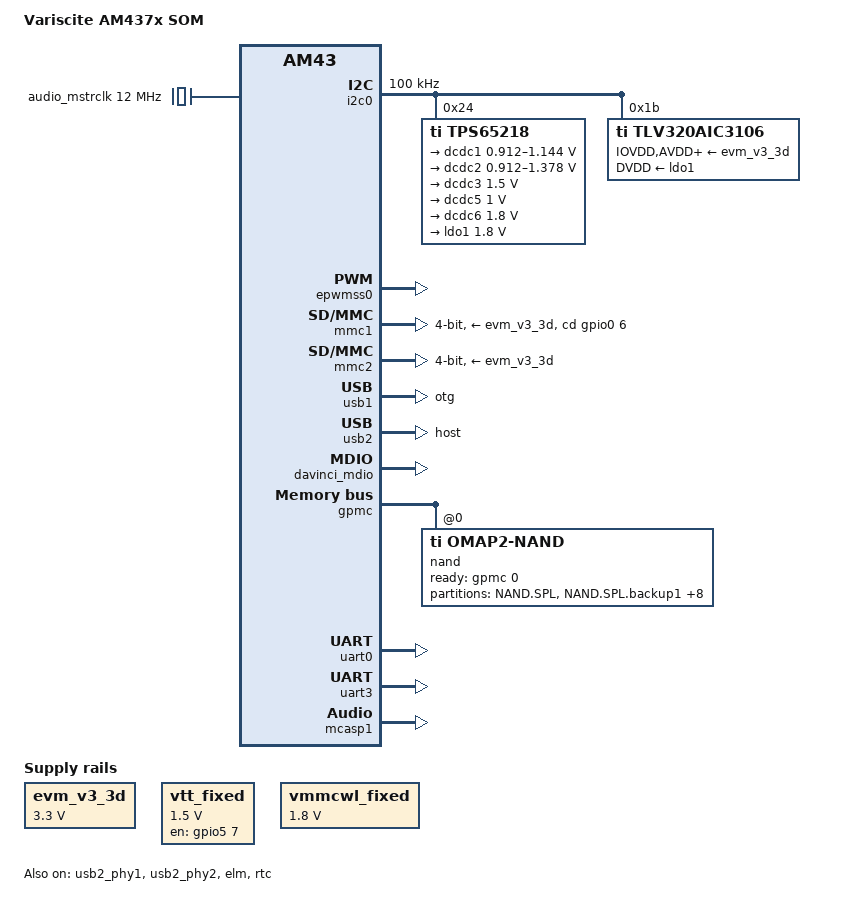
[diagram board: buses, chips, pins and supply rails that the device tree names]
/*
 * Copyright (C) 2015 Variscite LTD - http://www.variscite.com/
 *
 * This program is free software; you can redistribute it and/or modify
 * it under the terms of the GNU General Public License version 2 as
 * published by the Free Software Foundation.
 */

/* VAR-SOM-AM43 */

/dts-v1/;

#include "am4372.dtsi"
#include <dt-bindings/pinctrl/am43xx.h>
#include <dt-bindings/pwm/pwm.h>
#include <dt-bindings/gpio/gpio.h>
#include <dt-bindings/input/input.h>

/ {
	model = "Variscite AM437x SOM";
	compatible = "ti,am437x-gp-evm","ti,am4372","ti,am43","var,var-som-am43";

	aliases {
		serial1 = &uart1;
	};

	evm_v3_3d: fixedregulator-v3_3d {
		compatible = "regulator-fixed";
		regulator-name = "evm_v3_3d";
		regulator-min-microvolt = <3300000>;
		regulator-max-microvolt = <3300000>;
		enable-active-high;
	};

	vtt_fixed: fixedregulator-vtt {
		compatible = "regulator-fixed";
		regulator-name = "vtt_fixed";
		regulator-min-microvolt = <1500000>;
		regulator-max-microvolt = <1500000>;
		regulator-always-on;
		regulator-boot-on;
		enable-active-high;
		gpio = <&gpio5 7 GPIO_ACTIVE_HIGH>;
	};

	vmmcwl_fixed: fixedregulator-mmcwl {
		compatible = "regulator-fixed";
		regulator-name = "vmmcwl_fixed";
		regulator-min-microvolt = <1800000>;
		regulator-max-microvolt = <1800000>;
	};

	sound0: sound@0 {
		compatible = "simple-audio-card";
		simple-audio-card,name = "AM437x-GP-EVM";
		simple-audio-card,widgets =
			"Headphone", "Headphone Jack",
			"Line", "Line In";
		simple-audio-card,routing =
			"Headphone Jack",	"HPLOUT",
			"Headphone Jack",	"HPROUT",
			"LINE1L",		"Line In",
			"LINE1R",		"Line In";
		simple-audio-card,format = "dsp_b";
		simple-audio-card,bitclock-master = <&sound0_master>;
		simple-audio-card,frame-master = <&sound0_master>;
		simple-audio-card,bitclock-inversion;

		simple-audio-card,cpu {
			sound-dai = <&mcasp1>;
			system-clock-frequency = <24000000>;
		};

		sound0_master: simple-audio-card,codec {
			sound-dai = <&tlv320aic3106>;
			system-clock-frequency = <24000000>;
		};
	};

	audio_mstrclk: mclk_osc {
		compatible = "fixed-clock";
		#clock-cells = <0>;
		clock-frequency = <12000000>;
	};

};

&am43xx_pinmux {
	pinctrl-names = "default", "sleep";
	pinctrl-0 = <&ddr3_vtt_toggle_default &debugss_pins &gpio_pins &clkout2_pin>;
	pinctrl-1 = <>;

	ddr3_vtt_toggle_default: ddr_vtt_toggle_default {
		pinctrl-single,pins = <
			0x25C (DS0_PULL_UP_DOWN_EN | PIN_OUTPUT_PULLUP | DS0_FORCE_OFF_MODE | MUX_MODE7) /* spi0_cs0.gpio5_7 */
		>;
	};

	i2c0_pins: i2c0_pins {
		pinctrl-single,pins = <
			0x188 (PIN_INPUT_PULLUP | SLEWCTRL_FAST | MUX_MODE0)  /* i2c0_sda.i2c0_sda */
			0x18c (PIN_INPUT_PULLUP | SLEWCTRL_FAST | MUX_MODE0)  /* i2c0_scl.i2c0_scl */
		>;
	};

	i2c1_pins_default: i2c1_pins_default {
		pinctrl-single,pins = <
			0x15c (PIN_INPUT_PULLUP | SLEWCTRL_FAST | MUX_MODE2)  /* spi0_cs0.i2c1_scl */
			0x158 (PIN_INPUT_PULLUP | SLEWCTRL_FAST | MUX_MODE2)  /* spi0_d1.i2c1_sda  */
		>;
	};

	i2c1_pins_sleep: i2c1_pins_sleep {
		pinctrl-single,pins = <
			0x15c (PIN_INPUT_PULLUP | MUX_MODE7)
			0x158 (PIN_INPUT_PULLUP | MUX_MODE7)
		>;
	};

	mmc1_pins: pinmux_mmc1_pins {
		pinctrl-single,pins = <
			0x100 (PIN_INPUT_PULLUP | MUX_MODE0) /* mmc0_clk.mmc0_clk */
			0x104 (PIN_INPUT_PULLUP | MUX_MODE0) /* mmc0_cmd.mmc0_cmd */
			0x0f0 (PIN_INPUT_PULLUP | MUX_MODE0) /* mmc0_dat0.mmc0_dat0 */
			0x0f4 (PIN_INPUT_PULLUP | MUX_MODE0) /* mmc0_dat1.mmc0_dat1 */
			0x0f8 (PIN_INPUT_PULLUP | MUX_MODE0) /* mmc0_dat2.mmc0_dat2 */
			0x0fc (PIN_INPUT_PULLUP | MUX_MODE0) /* mmc0_dat3.mmc0_dat3 */
			0x160 (PIN_INPUT | MUX_MODE7) /* spi0_cs1.gpio0_6 */
		>;
	};

	mmc1_sleep_pins: pinmux_mmc1_sleep_pins {
		pinctrl-single,pins = <
			0x100 (PIN_INPUT_PULLDOWN | MUX_MODE7)
			0x104 (PIN_INPUT | PULL_DISABLE | MUX_MODE7)
			0x0f0 (PIN_INPUT | PULL_DISABLE | MUX_MODE7)
			0x0f4 (PIN_INPUT | PULL_DISABLE | MUX_MODE7)
			0x0f8 (PIN_INPUT | PULL_DISABLE | MUX_MODE7)
			0x0fc (PIN_INPUT | PULL_DISABLE | MUX_MODE7)
			0x160 (PIN_INPUT | PULL_DISABLE | MUX_MODE7)
		>;
	};

	emmc_pins_default: emmc_pins_default {
		pinctrl-single,pins = <
			0x20 (PIN_INPUT_PULLUP | MUX_MODE2) /* gpmc_ad8.mmc1_dat0 */
			0x24 (PIN_INPUT_PULLUP | MUX_MODE2) /* gpmc_ad9.mmc1_dat1 */
			0x28 (PIN_INPUT_PULLUP | MUX_MODE2) /* gpmc_ad10.mmc1_dat2 */
			0x2c (PIN_INPUT_PULLUP | MUX_MODE2) /* gpmc_ad11.mmc1_dat3 */
			0x80 (PIN_INPUT_PULLUP | MUX_MODE2) /* gpmc_csn1.mmc1_clk */
			0x84 (PIN_INPUT_PULLUP | MUX_MODE2) /* gpmc_csn2.mmc1_cmd */
		>;
	};

	emmc_pins_sleep: emmc_pins_sleep {
		pinctrl-single,pins = <
			0x20 (PIN_INPUT_PULLDOWN | MUX_MODE7) /* gpmc_ad8.mmc1_dat0 */
			0x24 (PIN_INPUT_PULLDOWN | MUX_MODE7) /* gpmc_ad9.mmc1_dat1 */
			0x28 (PIN_INPUT_PULLDOWN | MUX_MODE7) /* gpmc_ad10.mmc1_dat2 */
			0x2c (PIN_INPUT_PULLDOWN | MUX_MODE7) /* gpmc_ad11.mmc1_dat3 */
			0x80 (PIN_INPUT_PULLDOWN | MUX_MODE7) /* gpmc_csn1.mmc1_clk */
			0x84 (PIN_INPUT_PULLDOWN | MUX_MODE7) /* gpmc_csn2.mmc1_cmd */
		>;
	};

	cpsw_default: cpsw_default {
		pinctrl-single,pins = <
			/* Slave 1 */
			0x114 (PIN_OUTPUT_PULLDOWN | MUX_MODE2)	/* mii1_txen.rgmii1_txen */
			0x118 (PIN_INPUT_PULLDOWN | MUX_MODE2)	/* mii1_rxdv.rgmii1_rxctl */
			0x11c (PIN_OUTPUT_PULLDOWN | MUX_MODE2)	/* mii1_txd1.rgmii1_txd3 */
			0x120 (PIN_OUTPUT_PULLDOWN | MUX_MODE2)	/* mii1_txd0.rgmii1_txd2 */
			0x124 (PIN_OUTPUT_PULLDOWN | MUX_MODE2)	/* mii1_txd1.rgmii1_txd1 */
			0x128 (PIN_OUTPUT_PULLDOWN | MUX_MODE2)	/* mii1_txd0.rgmii1_txd0 */
			0x12c (PIN_OUTPUT_PULLDOWN | MUX_MODE2)	/* mii1_txclk.rmii1_tclk */
			0x130 (PIN_INPUT_PULLDOWN | MUX_MODE2)	/* mii1_rxclk.rmii1_rclk */
			0x134 (PIN_INPUT_PULLDOWN | MUX_MODE2)	/* mii1_rxd1.rgmii1_rxd3 */
			0x138 (PIN_INPUT_PULLDOWN | MUX_MODE2)	/* mii1_rxd0.rgmii1_rxd2 */
			0x13c (PIN_INPUT_PULLDOWN | MUX_MODE2)	/* mii1_rxd1.rgmii1_rxd1 */
			0x140 (PIN_INPUT_PULLDOWN | MUX_MODE2)	/* mii1_rxd0.rgmii1_rxd0 */
		>;
	};

	cpsw_sleep: cpsw_sleep {
		pinctrl-single,pins = <
			/* Slave 1 reset value */
			0x114 (PIN_INPUT_PULLDOWN | MUX_MODE7)
			0x118 (PIN_INPUT_PULLDOWN | MUX_MODE7)
			0x11c (PIN_INPUT_PULLDOWN | MUX_MODE7)
			0x120 (PIN_INPUT_PULLDOWN | MUX_MODE7)
			0x124 (PIN_INPUT_PULLDOWN | MUX_MODE7)
			0x128 (PIN_INPUT_PULLDOWN | MUX_MODE7)
			0x12c (PIN_INPUT_PULLDOWN | MUX_MODE7)
			0x130 (PIN_INPUT_PULLDOWN | MUX_MODE7)
			0x134 (PIN_INPUT | PULL_DISABLE | MUX_MODE7)
			0x138 (PIN_INPUT | PULL_DISABLE | MUX_MODE7)
			0x13c (PIN_INPUT | PULL_DISABLE | MUX_MODE7)
			0x140 (PIN_INPUT | PULL_DISABLE | MUX_MODE7)
		>;
	};

	davinci_mdio_default: davinci_mdio_default {
		pinctrl-single,pins = <
			/* MDIO */
			0x148 (PIN_INPUT_PULLUP | SLEWCTRL_FAST | MUX_MODE0)	/* mdio_data.mdio_data */
			0x14c (PIN_OUTPUT_PULLUP | MUX_MODE0)			/* mdio_clk.mdio_clk */
		>;
	};

	davinci_mdio_sleep: davinci_mdio_sleep {
		pinctrl-single,pins = <
			/* MDIO reset value */
			0x148 (PIN_INPUT | PULL_DISABLE | MUX_MODE7)
			0x14c (PIN_INPUT | PULL_DISABLE | MUX_MODE7)
		>;
	};

	nand_flash_x8_default: nand_flash_x8_default {
		pinctrl-single,pins = <
			0x0  (PIN_INPUT  | MUX_MODE0)	/* gpmc_ad0.gpmc_ad0 */
			0x4  (PIN_INPUT  | MUX_MODE0)	/* gpmc_ad1.gpmc_ad1 */
			0x8  (PIN_INPUT  | MUX_MODE0)	/* gpmc_ad2.gpmc_ad2 */
			0xc  (PIN_INPUT  | MUX_MODE0)	/* gpmc_ad3.gpmc_ad3 */
			0x10 (PIN_INPUT  | MUX_MODE0)	/* gpmc_ad4.gpmc_ad4 */
			0x14 (PIN_INPUT  | MUX_MODE0)	/* gpmc_ad5.gpmc_ad5 */
			0x18 (PIN_INPUT  | MUX_MODE0)	/* gpmc_ad6.gpmc_ad6 */
			0x1c (PIN_INPUT  | MUX_MODE0)	/* gpmc_ad7.gpmc_ad7 */
			0x70 (PIN_INPUT_PULLUP | MUX_MODE0)	/* gpmc_wait0.gpmc_wait0 */
			0x74 (PIN_OUTPUT_PULLUP | MUX_MODE7)	/* gpmc_wpn.gpmc_wpn */
			0x7c (PIN_OUTPUT | MUX_MODE0)		/* gpmc_csn0.gpmc_csn0  */
			0x90 (PIN_OUTPUT | MUX_MODE0)		/* gpmc_advn_ale.gpmc_advn_ale */
			0x94 (PIN_OUTPUT | MUX_MODE0)		/* gpmc_oen_ren.gpmc_oen_ren */
			0x98 (PIN_OUTPUT | MUX_MODE0)		/* gpmc_wen.gpmc_wen */
			0x9c (PIN_OUTPUT | MUX_MODE0)		/* gpmc_be0n_cle.gpmc_be0n_cle */
		>;
	};

	nand_flash_x8_sleep: nand_flash_x8_sleep {
		pinctrl-single,pins = <
			0x0  (PIN_INPUT_PULLDOWN | MUX_MODE7)	/* gpmc_ad0.gpmc_ad0 */
			0x4  (PIN_INPUT_PULLDOWN | MUX_MODE7)	/* gpmc_ad1.gpmc_ad1 */
			0x8  (PIN_INPUT_PULLDOWN | MUX_MODE7)	/* gpmc_ad2.gpmc_ad2 */
			0xc  (PIN_INPUT_PULLDOWN | MUX_MODE7)	/* gpmc_ad3.gpmc_ad3 */
			0x10 (PIN_INPUT_PULLDOWN | MUX_MODE7)	/* gpmc_ad4.gpmc_ad4 */
			0x14 (PIN_INPUT_PULLDOWN | MUX_MODE7)	/* gpmc_ad5.gpmc_ad5 */
			0x18 (PIN_INPUT_PULLDOWN | MUX_MODE7)	/* gpmc_ad6.gpmc_ad6 */
			0x1c (PIN_INPUT_PULLDOWN | MUX_MODE7)	/* gpmc_ad7.gpmc_ad7 */
			0x70 (PIN_INPUT | PULL_DISABLE | MUX_MODE7)	/* gpmc_wait0.gpmc_wait0 */
			0x74 (PIN_INPUT_PULLDOWN | MUX_MODE7)	/* gpmc_wpn.gpmc_wpn */
			0x7c (PIN_INPUT | PULL_DISABLE | MUX_MODE7)		/* gpmc_csn0.gpmc_csn0  */
			0x90 (PIN_INPUT | PULL_DISABLE | MUX_MODE7)		/* gpmc_advn_ale.gpmc_advn_ale */
			0x94 (PIN_INPUT_PULLDOWN | MUX_MODE7)		/* gpmc_oen_ren.gpmc_oen_ren */
			0x98 (PIN_INPUT_PULLDOWN |  MUX_MODE7)		/* gpmc_wen.gpmc_wen */
			0x9c (PIN_INPUT | PULL_DISABLE | MUX_MODE7)		/* gpmc_be0n_cle.gpmc_be0n_cle */
		>;
	};

	clkout2_pin: clkout2_pin {
		pinctrl-single,pins = <
			0x274 (PIN_OUTPUT_PULLUP | MUX_MODE3)
		>;
	};

	mcasp1_pins: mcasp1_pins {
		pinctrl-single,pins = <
			0x108 (PIN_OUTPUT_PULLDOWN | MUX_MODE4)	/* mii1_col.mcasp1_axr2 */
			0x10c (PIN_INPUT_PULLDOWN | MUX_MODE4)	/* mii1_crs.mcasp1_aclkx */
			0x110 (PIN_INPUT_PULLDOWN | MUX_MODE4)	/* mii1_rxerr.mcasp1_fsx */
			0x144 (PIN_INPUT_PULLDOWN | MUX_MODE4)	/* rmii1_ref_clk.mcasp1_axr3 */
			0x270 (PIN_INPUT_PULLDOWN | MUX_MODE3)	/* xdma_event_intr0, ball D24: CLK_AM437X_CLKOUT1 */
		>;
	};

	mcasp1_sleep_pins: mcasp1_sleep_pins {
		pinctrl-single,pins = <
			0x108 (PIN_INPUT_PULLDOWN | MUX_MODE7)
			0x10c (PIN_INPUT_PULLDOWN | MUX_MODE7)
			0x110 (PIN_INPUT_PULLDOWN | MUX_MODE7)
			0x144 (PIN_INPUT_PULLDOWN | MUX_MODE7)
		>;
	};

	uart0_pins_default: uart0_pins_default {
		pinctrl-single,pins = <
			0x170 (PIN_INPUT_PULLUP | MUX_MODE0)	/* uart0_rxd.uart0_rxd */
			0x174 (PIN_OUTPUT_PULLDOWN | MUX_MODE0)	/* uart0_txd.uart0_txd */
		>;
	};

	uart3_pins: uart3_pins {
		pinctrl-single,pins = <
			0x228 (PIN_INPUT | MUX_MODE0)		/* uart3_rxd.uart3_rxd */
			0x22c (PIN_OUTPUT_PULLDOWN | MUX_MODE0)	/* uart3_txd.uart3_txd */
			0x230 (PIN_INPUT_PULLUP | MUX_MODE0)	/* uart3_ctsn.uart3_ctsn */
			0x234 (PIN_OUTPUT_PULLDOWN | MUX_MODE0)	/* uart3_rtsn.uart3_rtsn */
		>;
	};

	debugss_pins: pinmux_debugss_pins {
		pinctrl-single,pins = <
			0x290 (PIN_INPUT_PULLDOWN)
			0x294 (PIN_INPUT_PULLDOWN)
			0x298 (PIN_INPUT_PULLDOWN)
			0x29C (PIN_INPUT_PULLDOWN)
			0x2A0 (PIN_INPUT_PULLDOWN)
			0x2A4 (PIN_INPUT_PULLDOWN)
			0x2A8 (PIN_INPUT_PULLDOWN)
		>;
	};

	gpio_pins: gpio_pins {
		pinctrl-single,pins = <
			0x030  (PIN_INPUT  | MUX_MODE7) /* gpio1[12] */
			0x038  (PIN_INPUT  | MUX_MODE7) /* gpio1[14] */
			0x2C0  (PIN_INPUT  | MUX_MODE7) /* gpio0[18] */
			0x0E4  (PIN_INPUT  | MUX_MODE7) /* gpio2[23] */
			0x0A0  (PIN_INPUT  | MUX_MODE7) /* gpio2[6] */
			0x0A8  (PIN_INPUT  | MUX_MODE7) /* gpio2[8] */
			0x0B4  (PIN_INPUT  | MUX_MODE7) /* gpio2[11] */
			0x0C4  (PIN_INPUT  | MUX_MODE7) /* gpio2[15] */
			0x0C8  (PIN_INPUT  | MUX_MODE7) /* gpio2[16] */
			0x0B8  (PIN_INPUT  | MUX_MODE7) /* gpio2[12] */
			0x0CC  (PIN_INPUT  | MUX_MODE7) /* gpio2[17] */
			0x0D4  (PIN_INPUT  | MUX_MODE7) /* gpio0[9] */
			0x0E0  (PIN_INPUT  | MUX_MODE7) /* gpio2[22] */
			0x0EC  (PIN_INPUT  | MUX_MODE7) /* gpio2[25] */
			0x0A4  (PIN_INPUT  | MUX_MODE7) /* gpio2[7] */
			0x0B0  (PIN_INPUT  | MUX_MODE7) /* gpio2[10] */
			0x0C0  (PIN_INPUT  | MUX_MODE7) /* gpio2[14] */
			0x0BC  (PIN_INPUT  | MUX_MODE7) /* gpio2[13] */
			0x0AC  (PIN_INPUT  | MUX_MODE7) /* gpio2[9] */
			0x0D0  (PIN_INPUT  | MUX_MODE7) /* gpio0[8] */
			0x0D8  (PIN_INPUT  | MUX_MODE7) /* gpio0[10] */
			0x264  (PIN_INPUT  | MUX_MODE7) /* gpio3[22] */
			0x1A8  (PIN_INPUT  | MUX_MODE7) /* gpio3[20] */
			0x268  (PIN_INPUT  | MUX_MODE7) /* gpio3[23] */
			0x194  (PIN_INPUT  | MUX_MODE7) /* gpio3[15] */
			0x260  (PIN_INPUT  | MUX_MODE7) /* gpio3[24] */
			0x034  (PIN_INPUT  | MUX_MODE7) /* gpio1[13] */
			0x2C4  (PIN_INPUT  | MUX_MODE7) /* gpio3[13] */
			0x180  (PIN_INPUT  | MUX_MODE7) /* gpio0[14] */
			0x24C  (PIN_INPUT  | MUX_MODE7) /* gpio5[13] */
			0x1A0  (PIN_INPUT  | MUX_MODE7) /* gpio3[18] */
			0x184  (PIN_INPUT  | MUX_MODE7) /* gpio0[15] */
			0x1DC  (PIN_INPUT  | MUX_MODE7) /* gpio4[11] */
			0x204  (PIN_INPUT  | MUX_MODE7) /* gpio4[21] */
			0x1D4  (PIN_INPUT  | MUX_MODE7) /* gpio4[9] */
			0x200  (PIN_INPUT  | MUX_MODE7) /* gpio4[20] */
			0x1FC  (PIN_INPUT  | MUX_MODE7) /* gpio4[19] */
			0x1E4  (PIN_INPUT  | MUX_MODE7) /* gpio4[13] */
			0x1E0  (PIN_INPUT  | MUX_MODE7) /* gpio4[12] */
			0x168  (PIN_INPUT  | MUX_MODE7) /* gpio1[8] */
			0x23C  (PIN_INPUT  | MUX_MODE7) /* gpio5[9] */
			0x1BC  (PIN_INPUT  | MUX_MODE7) /* gpio4[3] */
			0x154  (PIN_INPUT  | MUX_MODE7) /* gpio0[3] */
			0x26C  (PIN_INPUT  | MUX_MODE7) /* gpio3[25] */
			0x198  (PIN_INPUT  | MUX_MODE7) /* gpio3[16] */
			0x0DC  (PIN_INPUT  | MUX_MODE7) /* gpio0[11] */
			0x258  (PIN_INPUT  | MUX_MODE7) /* gpio5[6] */
			0x1D0  (PIN_INPUT  | MUX_MODE7) /* gpio4[8] */
			0x1CC  (PIN_INPUT  | MUX_MODE7) /* gpio4[7] */
			0x1C0  (PIN_INPUT  | MUX_MODE7) /* gpio4[4] */
			0x1B4  (PIN_INPUT  | MUX_MODE7) /* gpio4[1] */
			0x1B0  (PIN_INPUT | MUX_MODE7)  /* gpio4[0] */
		>;
	};

	usb1_pins_default: usb1_pins_default {
		pinctrl-single,pins = <
			0x2c0 (DS0_PULL_UP_DOWN_EN | PIN_INPUT_PULLDOWN | MUX_MODE0)
		>;
	};

	usb1_pins_sleep: usb1_pins_sleep {
		pinctrl-single,pins = <
			0x2c0 (DS0_PULL_UP_DOWN_EN | PIN_INPUT_PULLDOWN | MUX_MODE7)
		>;
	};

	usb2_pins_default: usb2_pins_default {
		pinctrl-single,pins = <
			0x2c4 (DS0_PULL_UP_DOWN_EN | PIN_INPUT_PULLDOWN | MUX_MODE0)
		>;
	};

	usb2_pins_sleep: usb2_pins_sleep {
		pinctrl-single,pins = <
			0x2c4 (DS0_PULL_UP_DOWN_EN | PIN_INPUT_PULLDOWN | MUX_MODE7)
		>;
	};
};

&i2c0 {
	status = "okay";
	pinctrl-names = "default";
	pinctrl-0 = <&i2c0_pins>;
	clock-frequency = <100000>;

	tps65218: tps65218@24 {
		reg = <0x24>;
		compatible = "ti,tps65218";
		interrupts = <GIC_SPI 7 IRQ_TYPE_NONE>; /* NMIn */
		interrupt-controller;
		#interrupt-cells = <2>;

		dcdc1: regulator-dcdc1 {
			compatible = "ti,tps65218-dcdc1";
			regulator-name = "vdd_core";
			regulator-min-microvolt = <912000>;
			regulator-max-microvolt = <1144000>;
			regulator-boot-on;
			regulator-always-on;
		};

		dcdc2: regulator-dcdc2 {
			compatible = "ti,tps65218-dcdc2";
			regulator-name = "vdd_mpu";
			regulator-min-microvolt = <912000>;
			regulator-max-microvolt = <1378000>;
			regulator-boot-on;
			regulator-always-on;
		};

		dcdc3: regulator-dcdc3 {
			compatible = "ti,tps65218-dcdc3";
			regulator-name = "vdcdc3";
			regulator-min-microvolt = <1500000>;
			regulator-max-microvolt = <1500000>;
			regulator-boot-on;
			regulator-always-on;
			regulator-state-mem {
				regulator-on-in-suspend;
			};
			regulator-state-disk {
				regulator-off-in-suspend;
			};
		};

		dcdc5: regulator-dcdc5 {
			compatible = "ti,tps65218-dcdc5";
			regulator-name = "v1_0bat";
			regulator-min-microvolt = <1000000>;
			regulator-max-microvolt = <1000000>;
			regulator-boot-on;
			regulator-always-on;
			regulator-state-mem {
				regulator-on-in-suspend;
			};
		};

		dcdc6: regulator-dcdc6 {
			compatible = "ti,tps65218-dcdc6";
			regulator-name = "v1_8bat";
			regulator-min-microvolt = <1800000>;
			regulator-max-microvolt = <1800000>;
			regulator-boot-on;
			regulator-always-on;
			regulator-state-mem {
				regulator-on-in-suspend;
			};
		};

		ldo1: regulator-ldo1 {
			compatible = "ti,tps65218-ldo1";
			regulator-min-microvolt = <1800000>;
			regulator-max-microvolt = <1800000>;
			regulator-boot-on;
			regulator-always-on;
		};
	};

	tlv320aic3106: tlv320aic3106@1b {
		#sound-dai-cells = <0>;
		compatible = "ti,tlv320aic3106";
		reg = <0x1b>;
		status = "okay";

		/* Regulators */
		IOVDD-supply = <&evm_v3_3d>; /* V3_3D -> <tps63031> EN: V1_8D -> VBAT */
		AVDD-supply = <&evm_v3_3d>; /* v3_3AUD -> V3_3D -> ... */
		DRVDD-supply = <&evm_v3_3d>; /* v3_3AUD -> V3_3D -> ... */
		DVDD-supply = <&ldo1>; /* V1_8D -> LDO1 */
	};
};

&epwmss0 {
	status = "okay";
};

&gpio0 {
	status = "okay";
};

&gpio1 {
	status = "okay";
};

&gpio2 {
	status = "okay";
};

&gpio3 {
	status = "okay";
};

&gpio4 {
	status = "okay";
};

&gpio5 {
	status = "okay";
	ti,no-reset-on-init;
};

&mmc1 {
	status = "okay";
	vmmc-supply = <&evm_v3_3d>;
	bus-width = <4>;
	pinctrl-names = "default", "sleep";
	pinctrl-0 = <&mmc1_pins>;
	pinctrl-1 = <&mmc1_sleep_pins>;
	cd-gpios = <&gpio0 6 GPIO_ACTIVE_HIGH>;
};

/* eMMC sits on mmc2 */
&mmc2 {
	status = "ok";
	vmmc-supply = <&evm_v3_3d>;
	bus-width = <4>;
	pinctrl-names = "default", "sleep";
	pinctrl-0 = <&emmc_pins_default>;
	pinctrl-1 = <&emmc_pins_sleep>;
	ti,non-removable;
};

&usb1 {
	dr_mode = "otg";
	status = "okay";
	pinctrl-names = "default", "sleep";
	pinctrl-0 = <&usb1_pins_default>;
	pinctrl-1 = <&usb1_pins_sleep>;
};

&usb2 {
	dr_mode = "host";
	status = "okay";
	pinctrl-names = "default", "sleep";
	pinctrl-0 = <&usb2_pins_default>;
	pinctrl-1 = <&usb2_pins_sleep>;
};

&usb2_phy1 {
	status = "okay";
};

&usb2_phy2 {
	status = "okay";
};

&davinci_mdio {
	pinctrl-names = "default", "sleep";
	pinctrl-0 = <&davinci_mdio_default>;
	pinctrl-1 = <&davinci_mdio_sleep>;
	status = "okay";
};

&elm {
	status = "okay";
};

&gpmc {
	status = "okay";
	pinctrl-names = "default", "sleep";
	pinctrl-0 = <&nand_flash_x8_default>;
	pinctrl-1 = <&nand_flash_x8_sleep>;
	ranges = <0 0 0x08000000 0x01000000>;	/* CS0 space. Min partition = 16MB */
	nand@0,0 {
		compatible = "ti,omap2-nand";
		reg = <0 0 4>;		/* device IO registers */
		interrupt-parent = <&gic>;
		interrupts = <GIC_SPI 100 IRQ_TYPE_LEVEL_HIGH>;
		ready-gpio = <&gpmc 0 GPIO_ACTIVE_HIGH>;	/* gpmc_wait0 */
		ti,nand-ecc-opt = "bch8";
		ti,elm-id = <&elm>;
		nand-bus-width = <8>;
		gpmc,device-width = <1>;
		gpmc,sync-clk-ps = <0>;
		gpmc,cs-on-ns = <0>;
		gpmc,cs-rd-off-ns = <40>;
		gpmc,cs-wr-off-ns = <40>;
		gpmc,adv-on-ns = <0>;
		gpmc,adv-rd-off-ns = <25>;
		gpmc,adv-wr-off-ns = <25>;
		gpmc,we-on-ns = <0>;
		gpmc,we-off-ns = <20>;
		gpmc,oe-on-ns = <3>;
		gpmc,oe-off-ns = <30>;
		gpmc,access-ns = <30>;
		gpmc,rd-cycle-ns = <40>;
		gpmc,wr-cycle-ns = <40>;
		gpmc,bus-turnaround-ns = <0>;
		gpmc,cycle2cycle-delay-ns = <0>;
		gpmc,clk-activation-ns = <0>;
		gpmc,wr-access-ns = <40>;
		gpmc,wr-data-mux-bus-ns = <0>;
		/* MTD partition table */
		/* All SPL-* partitions are sized to minimal length
		 * which can be independently programmable. For
		 * NAND flash this is equal to size of erase-block */
		#address-cells = <1>;
		#size-cells = <1>;
		partition@0 {
			label = "NAND.SPL";
			reg = <0x00000000 0x00040000>;
		};
		partition@1 {
			label = "NAND.SPL.backup1";
			reg = <0x00040000 0x00040000>;
		};
		partition@2 {
			label = "NAND.SPL.backup2";
			reg = <0x00080000 0x00040000>;
		};
		partition@3 {
			label = "NAND.SPL.backup3";
			reg = <0x000c0000 0x00040000>;
		};
		partition@4 {
			label = "NAND.u-boot-spl-os";
			reg = <0x00100000 0x00080000>;
		};
		partition@5 {
			label = "NAND.u-boot";
			reg = <0x00180000 0x00100000>;
		};
		partition@6 {
			label = "NAND.u-boot-env";
			reg = <0x00280000 0x00040000>;
		};
		partition@7 {
			label = "NAND.u-boot-env.backup1";
			reg = <0x002c0000 0x00040000>;
		};
		partition@8 {
			label = "NAND.kernel";
			reg = <0x00300000 0x00700000>;
		};
		partition@9 {
			label = "NAND.file-system";
			reg = <0x00a00000 0x1f600000>;
		};
	};
};

&uart0 {
	status = "okay";
	pinctrl-names = "default", "sleep";
	pinctrl-0 = <&uart0_pins_default>;
	pinctrl-1 = <>;
};

&uart3 {
	status = "okay";
	pinctrl-names = "default";
	pinctrl-0 = <&uart3_pins>;
};

&mcasp1 {
	#sound-dai-cells = <0>;
	pinctrl-names = "default", "sleep";
	pinctrl-0 = <&mcasp1_pins>;
	pinctrl-1 = <&mcasp1_sleep_pins>;

	status = "okay";

	op-mode = <0>; /* MCASP_IIS_MODE */
	tdm-slots = <2>;
	/* 4 serializers */
	serial-dir = <  /* 0: INACTIVE, 1: TX, 2: RX */
		0 0 1 2
	>;
	tx-num-evt = <32>;
	rx-num-evt = <32>;
};

&wkup_m3_ipc {
	ti,set-io-isolation;
	ti,scale-data-fw = "am43x-evm-scale-data.bin";
};

&cpu {
	cpu0-supply = <&dcdc2>;
};

&rtc {
	status = "okay";
	ext-clk-src;
};

